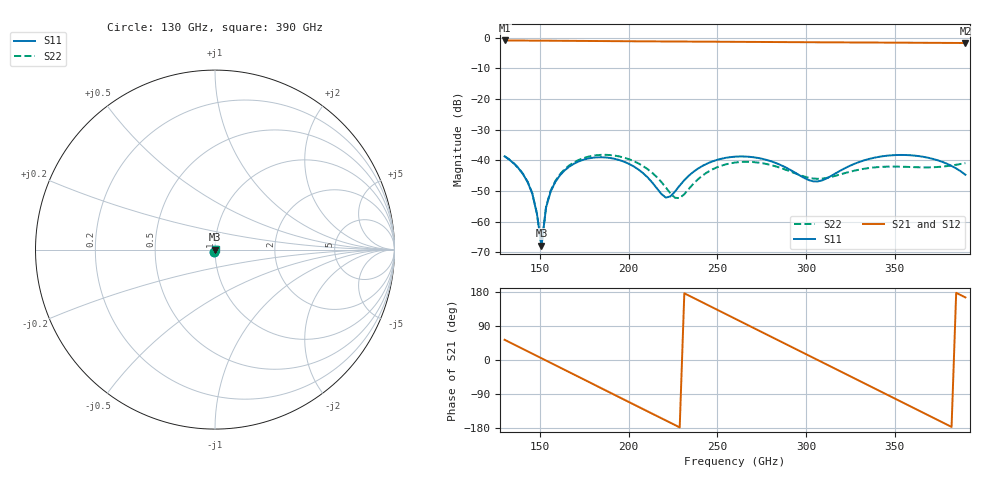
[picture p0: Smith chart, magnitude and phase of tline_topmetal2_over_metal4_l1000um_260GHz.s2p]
#  GHZ S DB R 50
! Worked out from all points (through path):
!   101 points, 130 GHz to 390 GHz, reference 50 ohm
!   highest |S21| = -0.90 dB at 130 GHz (marker M1); lowest = -1.7 dB at 390 GHz (marker M2)
!   group delay of S21, straight-line fit = 6.5 ps
!   lowest |S11| = -67.8 dB at 150.8 GHz (marker M3), VSWR 1.00, Z = 50 - j0.0284 ohm
!   |S11| at or under -10 dB: start of sweep to end of sweep
!   |S22| runs from -68.0 to -38.2 dB; largest |S21 - S12| = 1.6e-14
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130  -38.73 -110.7  -0.90 53.4  -0.90 53.4  -38.68 -111.3
143  -47.14 -139.4  -0.94 22.9  -0.94 22.9  -47.01 -140.5
148.2  -57.35 -141.8  -0.96 10.7  -0.96 10.7  -57.28 -143.7
150.8  -67.83 -44.3  -0.97 4.6  -0.97 4.6  -68.03 -41.2
153.4  -55.38 -2.1  -0.98 -1.5  -0.98 -1.5  -55.10 -1.9
156  -50.19 -3.3  -0.99 -7.6  -0.99 -7.6  -49.89 -3.6
163.8  -43.33 -19.8  -1.02 -25.8  -1.02 -25.8  -42.97 -20.5
174.2  -39.87 -46.2  -1.05 -50.2  -1.05 -50.2  -39.35 -46.9
195  -39.98 -103.7  -1.14 -98.9  -1.14 -98.9  -38.79 -103.6
208  -44.14 -147.0  -1.18 -129.3  -1.18 -129.3  -41.85 -143.3
218.4  -50.97 149.4  -1.22 -153.6  -1.22 -153.6  -47.06 174.3
223.6  -51.78 87.2  -1.24 -165.8  -1.24 -165.8  -50.82 137.5
228.8  -48.24 41.2  -1.25 -177.9  -1.25 -177.9  -52.34 78.1
244.4  -41.04 -24.2  -1.30 145.6  -1.30 145.6  -43.90 -22.0
260  -38.83 -73.6  -1.34 109.1  -1.34 109.1  -40.74 -76.3
280.8  -40.41 -143.0  -1.41 60.4  -1.41 60.4  -41.64 -150.4
304.2  -46.88 91.6  -1.49 5.7  -1.49 5.7  -45.96 89.5
317.2  -44.12 1.6  -1.52 -24.6  -1.52 -24.6  -44.98 10.2
330.2  -40.53 -56.2  -1.56 -55.0  -1.56 -55.0  -43.05 -53.2
348.4  -38.37 -120.7  -1.61 -97.6  -1.61 -97.6  -42.06 -132.3
371.8  -39.57 161.6  -1.68 -152.3  -1.68 -152.3  -42.27 116.5
390  -44.73 95.8  -1.73 165.1  -1.73 165.1  -40.92 26.3
